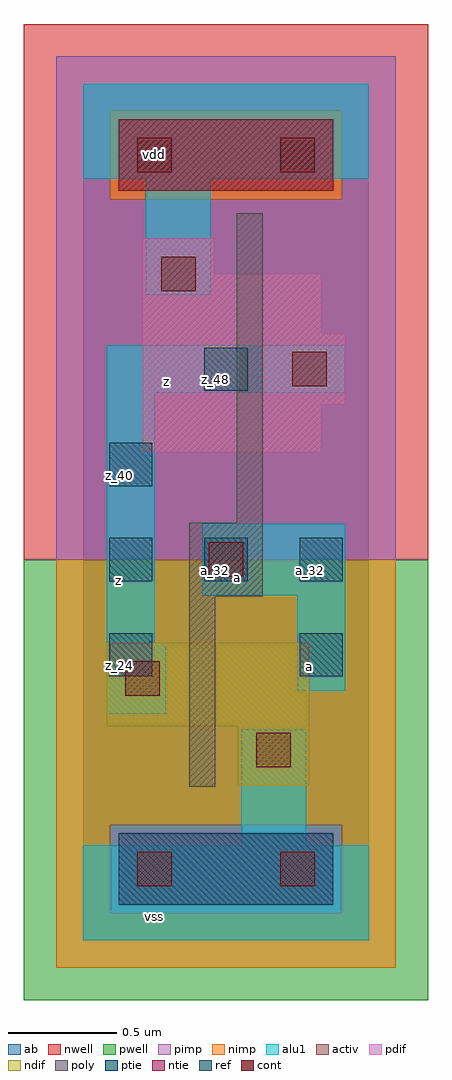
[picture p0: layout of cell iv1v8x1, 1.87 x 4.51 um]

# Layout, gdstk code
import gdstk
lib = gdstk.Library(unit=1e-6, precision=2.5e-09)
def R(c, l, rs):  # rectangles x0, y0, x1, y1
    for r in rs: c.add(gdstk.rectangle(r[:2], r[2:], *l))
def A(c, l, x, y, w, h, nx, ny, dx, dy):  # array of equal rectangles
    R(c, l, [(x+i*dx, y+j*dy, x+i*dx+w, y+j*dy+h) for i in range(nx) for j in range(ny)])
ndif = (3, 0)
pdif = (4, 0)
ntie = (5, 0)
ptie = (6, 0)
ref = (24, 0)
cont = (25, 0)
pwell = (41, 0)
nwell = (42, 0)
activ = (43, 0)
pimp = (44, 0)
nimp = (45, 0)
poly = (46, 0)
alu1 = (49, 0)
ab = (63, 0)

iv1v8x1 = lib.new_cell('iv1v8x1')
R(iv1v8x1, ndif, [(0.715,0.715,1.045,0.99), (0.11,0.99,1.045,1.375)])
R(iv1v8x1, pdif, [(0.275,2.255,1.1,2.475), (0.275,2.475,1.21,2.805), (0.275,2.805,1.1,3.08), (0.275,3.08,0.605,3.245)])
R(iv1v8x1, ntie, [(0.165,3.465,1.155,3.795)])
R(iv1v8x1, ptie, [(0.165,0.165,1.155,0.495)])
A(iv1v8x1, ref, 0.12, 1.66, 0.2, 0.2, 3, 1, 0.44, 0)
R(iv1v8x1, ref, [(0.12,1.22,0.32,1.42), (1,1.22,1.2,1.42), (0.12,2.1,0.32,2.3), (0.56,2.54,0.76,2.74)])
R(iv1v8x1, cont, [(0.25,0.25,0.41,0.41), (0.91,0.25,1.07,0.41), (0.8,0.8,0.96,0.96), (0.195,1.13,0.355,1.29), (0.58,1.68,0.74,1.84), (0.965,2.56,1.125,2.72), (0.36,3,0.52,3.16), (0.25,3.55,0.41,3.71), (0.91,3.55,1.07,3.71)])
R(iv1v8x1, pwell, [(-0.275,-0.275,1.595,1.76)])
R(iv1v8x1, nwell, [(-0.275,1.76,1.595,4.235)])
R(iv1v8x1, activ, [(0.165,0.165,1.155,0.495), (0.715,0.715,1.045,0.99), (0.11,0.99,1.045,1.375), (0.275,2.255,1.1,2.475), (0.275,2.475,1.21,2.805), (0.275,2.805,1.1,3.08), (0.275,3.08,0.605,3.245), (0.165,3.465,1.155,3.795)])
R(iv1v8x1, pimp, [(0.125,0.125,1.195,0.535), (-0.125,1.76,1.445,3.425), (-0.125,3.425,0.125,3.835), (1.195,3.425,1.445,3.835), (-0.125,3.835,1.445,4.085)])
R(iv1v8x1, nimp, [(-0.125,-0.125,1.445,0.125), (-0.125,0.125,0.125,0.535), (1.195,0.125,1.445,0.535), (-0.125,0.535,1.445,1.76), (0.125,3.425,1.195,3.835)])
R(iv1v8x1, poly, [(0.49,0.71,0.61,1.59), (0.49,1.59,0.83,1.93), (0.71,1.93,0.83,3.36)])
R(iv1v8x1, alu1, [(0,0,1.32,0.44), (0.73,0.44,1.03,0.975), (0.11,1.045,0.385,1.375), (0.99,1.155,1.21,1.595), (0.11,1.375,0.33,2.53), (0.55,1.595,1.21,1.925), (0.11,2.53,1.21,2.75), (0.29,2.985,0.59,3.52), (0,3.52,1.32,3.96)])
R(iv1v8x1, ab, [(0,0,1.32,3.96)])
iv1v8x1.add(gdstk.Label('vss', (0.33,0.11), layer=49, texttype=0))
iv1v8x1.add(gdstk.Label('a', (1.045,1.265), layer=49, texttype=0))
iv1v8x1.add(gdstk.Label('a', (0.715,1.6775), layer=49, texttype=0))
iv1v8x1.add(gdstk.Label('z', (0.165,1.6625), layer=49, texttype=0))
iv1v8x1.add(gdstk.Label('z', (0.385,2.585), layer=49, texttype=0))
iv1v8x1.add(gdstk.Label('vdd', (0.33,3.63), layer=49, texttype=0))
iv1v8x1.add(gdstk.Label('a_32', (0.61,1.71), layer=24, texttype=0))
iv1v8x1.add(gdstk.Label('z_48', (0.61,2.59), layer=24, texttype=0))
iv1v8x1.add(gdstk.Label('a_24', (1.05,1.27), layer=24, texttype=0))
iv1v8x1.add(gdstk.Label('a_32', (1.05,1.71), layer=24, texttype=0))
iv1v8x1.add(gdstk.Label('z_24', (0.17,1.27), layer=24, texttype=0))
iv1v8x1.add(gdstk.Label('z_32', (0.17,1.71), layer=24, texttype=0))
iv1v8x1.add(gdstk.Label('z_40', (0.17,2.15), layer=24, texttype=0))

lib.write_gds('iv1v8x1.gds')
